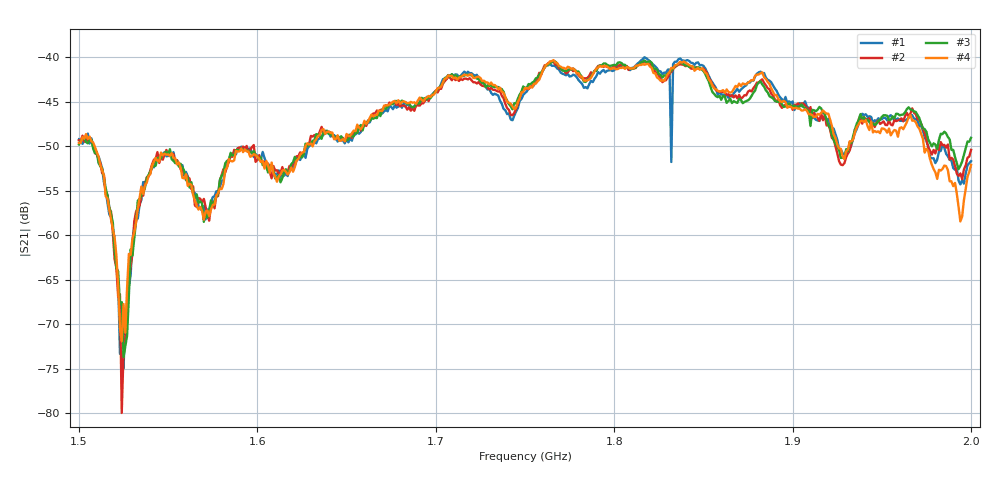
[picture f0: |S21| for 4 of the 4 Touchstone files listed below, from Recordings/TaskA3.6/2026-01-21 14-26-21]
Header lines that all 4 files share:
! NanoVNA-App by SYSJOINT et al v1.1.209 (+OD18)
! Start: 1,5GHz Stop: 2GHz Points: 501
! S-Parameter data: F S11 S21 S12 S22
# Hz S RI R 50
!  Frequency  S11_Real  S11_Imag  S21_Real  S21_Imag  S12_Real  S12_Imag  S22_Real  S22_Imag
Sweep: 1.5 GHz to 2 GHz
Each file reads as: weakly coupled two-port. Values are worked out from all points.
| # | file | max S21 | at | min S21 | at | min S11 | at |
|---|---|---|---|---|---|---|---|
| 1 | 0.s2p | -40.02 dB | 1.817 GHz | -75.0 dB | 1.525 GHz | -30.8 dB | 1.817 GHz |
| 2 | 1.s2p | -40.54 dB | 1.818 GHz | -80.0 dB | 1.524 GHz | -30.8 dB | 1.816 GHz |
| 3 | 2.s2p | -40.39 dB | 1.817 GHz | -73.7 dB | 1.525 GHz | -30.6 dB | 1.816 GHz |
| 4 | 3.s2p | -40.34 dB | 1.766 GHz | -71.9 dB | 1.524 GHz | -30.7 dB | 1.817 GHz |
